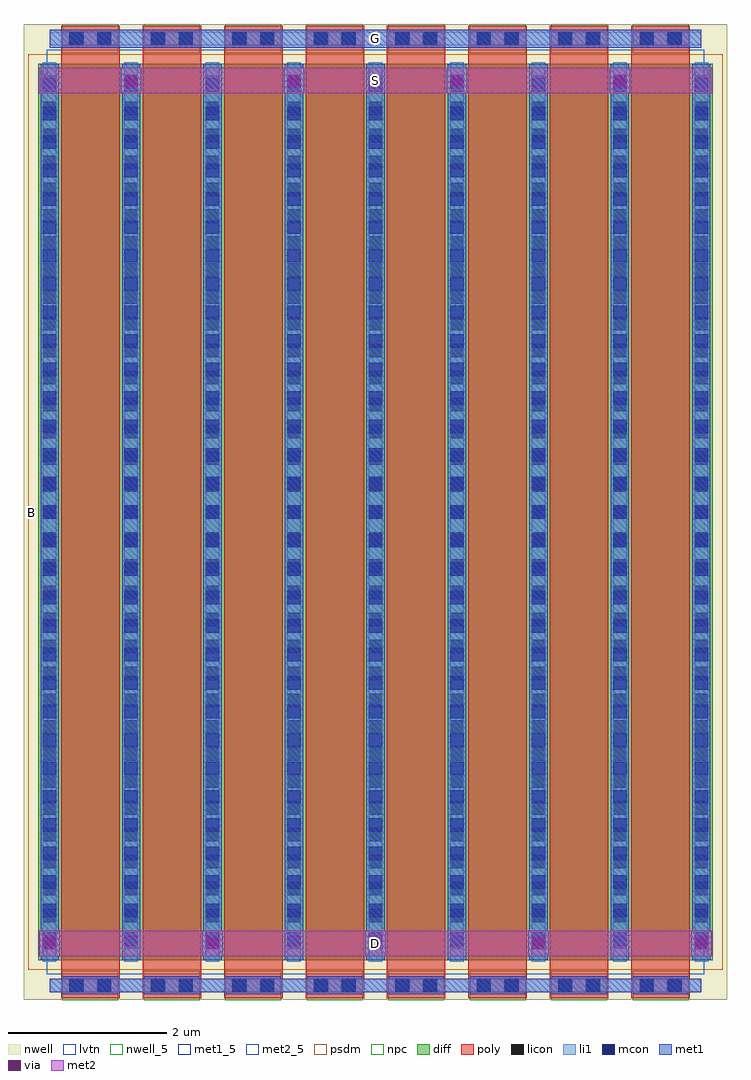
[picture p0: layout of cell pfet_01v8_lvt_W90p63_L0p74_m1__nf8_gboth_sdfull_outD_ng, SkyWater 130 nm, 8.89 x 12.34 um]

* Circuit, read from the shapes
.subckt pfet_01v8_lvt_W90p63_L0p74_m1__nf8_gboth_sdfull_outD_ng B D G S
XM1 S G D B sky130_fd_pr__pfet_01v8_lvt w=11.33 l=0.74 m=8
.ends

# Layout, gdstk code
import gdstk
lib = gdstk.Library(unit=1e-6, precision=1e-09)
def R(c, l, rs):  # rectangles x0, y0, x1, y1
    for r in rs: c.add(gdstk.rectangle(r[:2], r[2:], *l))
def A(c, l, x, y, w, h, nx, ny, dx, dy):  # array of equal rectangles
    R(c, l, [(x+i*dx, y+j*dy, x+i*dx+w, y+j*dy+h) for i in range(nx) for j in range(ny)])
nwell_5 = (64, 5)
nwell = (64, 20)
diff = (65, 20)
poly = (66, 20)
licon = (66, 44)
li1 = (67, 20)
mcon = (67, 44)
met1_5 = (68, 5)
met1 = (68, 20)
via = (68, 44)
met2_5 = (69, 5)
met2 = (69, 20)
psdm = (94, 20)
npc = (95, 20)
lvtn = (125, 44)

sky130_fd_pr__pfet_01v8_ = lib.new_cell('sky130_fd_pr__pfet_01v8_lvt_CBAHUX')
R(sky130_fd_pr__pfet_01v8_, nwell, [(-4.445,-6.165,4.445,6.165)])
R(sky130_fd_pr__pfet_01v8_, diff, [(-4.265,-5.665,4.265,5.665)])
A(sky130_fd_pr__pfet_01v8_, poly, -3.975, -6.15, 0.74, 12.3, 8, 1, 1.03, 0)
A(sky130_fd_pr__pfet_01v8_, licon, -4.205, -5.525, 0.17, 0.17, 9, 33, 1.03, 0.34)
R(sky130_fd_pr__pfet_01v8_, licon, [(-3.86,-6.07,-3.69,-5.9), (-3.52,-6.07,-3.35,-5.9), (-2.83,-6.07,-2.66,-5.9), (-2.49,-6.07,-2.32,-5.9), (-1.8,-6.07,-1.63,-5.9), (-1.46,-6.07,-1.29,-5.9), (-0.77,-6.07,-0.6,-5.9), (-0.43,-6.07,-0.26,-5.9), (0.26,-6.07,0.43,-5.9), (0.6,-6.07,0.77,-5.9), (1.29,-6.07,1.46,-5.9), (1.63,-6.07,1.8,-5.9), (2.32,-6.07,2.49,-5.9), (2.66,-6.07,2.83,-5.9), (3.35,-6.07,3.52,-5.9), (3.69,-6.07,3.86,-5.9), (-3.86,5.9,-3.69,6.07), (-3.52,5.9,-3.35,6.07), (-2.83,5.9,-2.66,6.07), (-2.49,5.9,-2.32,6.07), (-1.8,5.9,-1.63,6.07), (-1.46,5.9,-1.29,6.07), (-0.77,5.9,-0.6,6.07), (-0.43,5.9,-0.26,6.07), (0.26,5.9,0.43,6.07), (0.6,5.9,0.77,6.07), (1.29,5.9,1.46,6.07), (1.63,5.9,1.8,6.07), (2.32,5.9,2.49,6.07), (2.66,5.9,2.83,6.07), (3.35,5.9,3.52,6.07), (3.69,5.9,3.86,6.07)])
A(sky130_fd_pr__pfet_01v8_, li1, -4.205, -5.685, 0.17, 11.37, 9, 1, 1.03, 0)
R(sky130_fd_pr__pfet_01v8_, li1, [(-4.12,-6.07,4.12,-5.9), (-4.12,5.9,4.12,6.07)])
A(sky130_fd_pr__pfet_01v8_, mcon, -4.205, -5.485, 0.17, 0.17, 9, 31, 1.03, 0.36)
R(sky130_fd_pr__pfet_01v8_, mcon, [(-3.87,-6.07,-3.7,-5.9), (-3.51,-6.07,-3.34,-5.9), (-2.84,-6.07,-2.67,-5.9), (-2.48,-6.07,-2.31,-5.9), (-1.81,-6.07,-1.64,-5.9), (-1.45,-6.07,-1.28,-5.9), (-0.78,-6.07,-0.61,-5.9), (-0.42,-6.07,-0.25,-5.9), (0.25,-6.07,0.42,-5.9), (0.61,-6.07,0.78,-5.9), (1.28,-6.07,1.45,-5.9), (1.64,-6.07,1.81,-5.9), (2.31,-6.07,2.48,-5.9), (2.67,-6.07,2.84,-5.9), (3.34,-6.07,3.51,-5.9), (3.7,-6.07,3.87,-5.9), (-3.87,5.9,-3.7,6.07), (-3.51,5.9,-3.34,6.07), (-2.84,5.9,-2.67,6.07), (-2.48,5.9,-2.31,6.07), (-1.81,5.9,-1.64,6.07), (-1.45,5.9,-1.28,6.07), (-0.78,5.9,-0.61,6.07), (-0.42,5.9,-0.25,6.07), (0.25,5.9,0.42,6.07), (0.61,5.9,0.78,6.07), (1.28,5.9,1.45,6.07), (1.64,5.9,1.81,6.07), (2.31,5.9,2.48,6.07), (2.67,5.9,2.84,6.07), (3.34,5.9,3.51,6.07), (3.7,5.9,3.87,6.07)])
A(sky130_fd_pr__pfet_01v8_, met1, -3.955, -6.1, 0.7, 0.03, 8, 2, 1.03, 0.2)
A(sky130_fd_pr__pfet_01v8_, met1, -4.235, -5.665, 0.23, 11.33, 9, 1, 1.03, 0)
A(sky130_fd_pr__pfet_01v8_, met1, -3.955, 5.87, 0.7, 0.03, 8, 2, 1.03, 0.2)
R(sky130_fd_pr__pfet_01v8_, met1, [(-4.12,-6.07,4.12,-5.9), (-4.12,5.9,4.12,6.07)])
R(sky130_fd_pr__pfet_01v8_, psdm, [(-4.39,-5.79,4.39,5.79)])
A(sky130_fd_pr__pfet_01v8_, npc, -3.96, -6.17, 0.71, 0.37, 8, 2, 1.03, 11.97)
R(sky130_fd_pr__pfet_01v8_, lvtn, [(-4.155,-5.845,4.155,5.845)])
sky130_fd_pr__pfet_01v8_.add(gdstk.Label('D0', (-4.12,0), layer=67, texttype=5))
sky130_fd_pr__pfet_01v8_.add(gdstk.Label('G', (3.605,5.985), layer=67, texttype=5))
sky130_fd_pr__pfet_01v8_.add(gdstk.Label('G', (2.575,5.985), layer=67, texttype=5))
sky130_fd_pr__pfet_01v8_.add(gdstk.Label('G', (1.545,5.985), layer=67, texttype=5))
sky130_fd_pr__pfet_01v8_.add(gdstk.Label('G', (0.515,5.985), layer=67, texttype=5))
sky130_fd_pr__pfet_01v8_.add(gdstk.Label('G', (-0.515,5.985), layer=67, texttype=5))
sky130_fd_pr__pfet_01v8_.add(gdstk.Label('G', (-1.545,5.985), layer=67, texttype=5))
sky130_fd_pr__pfet_01v8_.add(gdstk.Label('G', (-2.575,5.985), layer=67, texttype=5))
sky130_fd_pr__pfet_01v8_.add(gdstk.Label('G', (-3.605,5.985), layer=67, texttype=5))
sky130_fd_pr__pfet_01v8_.add(gdstk.Label('S1', (-3.09,0), layer=67, texttype=5))
sky130_fd_pr__pfet_01v8_.add(gdstk.Label('D2', (-2.06,0), layer=67, texttype=5))
sky130_fd_pr__pfet_01v8_.add(gdstk.Label('S3', (-1.03,0), layer=67, texttype=5))
sky130_fd_pr__pfet_01v8_.add(gdstk.Label('D4', (0,0), layer=67, texttype=5))
sky130_fd_pr__pfet_01v8_.add(gdstk.Label('S5', (1.03,0), layer=67, texttype=5))
sky130_fd_pr__pfet_01v8_.add(gdstk.Label('D6', (2.06,0), layer=67, texttype=5))
sky130_fd_pr__pfet_01v8_.add(gdstk.Label('S7', (3.09,0), layer=67, texttype=5))

pfet_01v8_lvt_w90p63_l0p = lib.new_cell('pfet_01v8_lvt_W90p63_L0p74_m1__nf8_gboth_sdfull_outD_ng')
R(pfet_01v8_lvt_w90p63_l0p, nwell_5, [(0.05,6.115,0.15,6.215)])
R(pfet_01v8_lvt_w90p63_l0p, nwell, [(0.05,6.115,0.15,6.215)])
R(pfet_01v8_lvt_w90p63_l0p, met1_5, [(0.325,12.035,8.565,12.265)])
A(pfet_01v8_lvt_w90p63_l0p, met1, 0.195, 0.55, 0.26, 0.32, 5, 1, 2.06, 0)
A(pfet_01v8_lvt_w90p63_l0p, met1, 1.225, 11.46, 0.26, 0.32, 4, 1, 2.06, 0)
R(pfet_01v8_lvt_w90p63_l0p, met1, [(0.325,12.035,8.565,12.265)])
A(pfet_01v8_lvt_w90p63_l0p, via, 0.25, 0.635, 0.15, 0.15, 5, 1, 2.06, 0)
A(pfet_01v8_lvt_w90p63_l0p, via, 1.28, 11.545, 0.15, 0.15, 4, 1, 2.06, 0)
R(pfet_01v8_lvt_w90p63_l0p, met2_5, [(0.19,0.55,8.7,0.87), (0.19,11.46,8.7,11.78)])
R(pfet_01v8_lvt_w90p63_l0p, met2, [(0.19,0.55,8.7,0.87), (0.19,11.46,8.7,11.78)])
pfet_01v8_lvt_w90p63_l0p.add(gdstk.Reference(sky130_fd_pr__pfet_01v8_, (4.445,6.165)))
pfet_01v8_lvt_w90p63_l0p.add(gdstk.Label('S', (4.445,11.62), layer=69, texttype=5))
pfet_01v8_lvt_w90p63_l0p.add(gdstk.Label('D', (4.445,0.71), layer=69, texttype=5))
pfet_01v8_lvt_w90p63_l0p.add(gdstk.Label('G', (4.445,12.15), layer=68, texttype=5))
pfet_01v8_lvt_w90p63_l0p.add(gdstk.Label('B', (0.1,6.165), layer=64, texttype=5))

lib.write_gds('pfet_01v8_lvt_W90p63_L0p74_m1__nf8_gboth_sdfull_outD_ng.gds')
